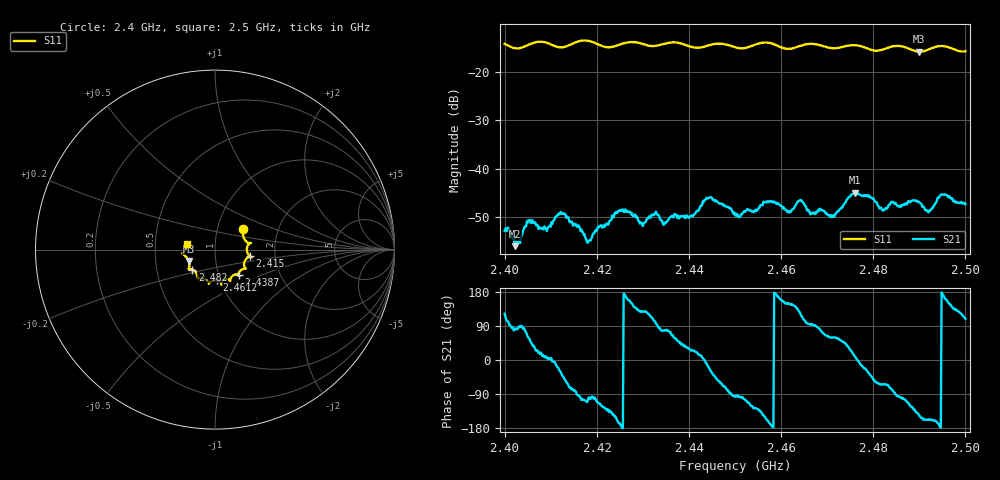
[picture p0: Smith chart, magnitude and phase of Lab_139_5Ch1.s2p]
# Hz S RI R 50
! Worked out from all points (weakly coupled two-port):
!   601 points, 2.4 GHz to 2.5 GHz, reference 50 ohm
!   highest |S21| = -45.00 dB at 2.476 GHz (marker M1); lowest = -56.0 dB at 2.4023 GHz (marker M2)
!   lowest |S11| = -15.9 dB at 2.49 GHz (marker M3), VSWR 1.38, Z = 36.9 - j4.85 ohm
!   |S11| at or under -10 dB: start of sweep to end of sweep
!   S12 and S22 are empty: the file has one direction only
!   S11 on the Smith chart (normalised r, x): 2.4 GHz: 1.33, +0.31; 2.415 GHz: 1.47, -0.11; 2.4387 GHz: 1.24, -0.36; 2.4612 GHz: 0.96, -0.34; 2.482 GHz: 0.76, -0.17; 2.5 GHz: 0.73, +0.05
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2.4e9  0.1576 0.112  -0.00121 0.00192  0 0  0 0
2.402333e9  0.1576 0.0727  0.000188 0.00157  0 0  0 0
2.405333e9  0.1863 0.0367  0.00157 0.00245  0 0  0 0
2.415e9  0.1925 -0.0365  0.00041 -0.00261  0 0  0 0
2.416667e9  0.2036 -0.0437  -0.000632 -0.00226  0 0  0 0
2.418333e9  0.2024 -0.0409  -0.000275 -0.00178  0 0  0 0
2.425167e9  0.1647 -0.0975  -0.00369 -0.00057  0 0  0 0
2.429833e9  0.1606 -0.1077  -0.00163 0.00218  0 0  0 0
2.433333e9  0.1319 -0.1317  0.000181 0.0033  0 0  0 0
2.438667e9  0.131 -0.1409  0.00241 0.00212  0 0  0 0
2.444333e9  0.0845 -0.1665  0.00466 -0.00168  0 0  0 0
2.45e9  0.0687 -0.1647  -0.000372 -0.00327  0 0  0 0
2.4575e9  0.0387 -0.1936  -0.00444 -0.00109  0 0  0 0
2.461167e9  0.00928 -0.1713  -0.0032 0.00193  0 0  0 0
2.464167e9  -0.0292 -0.1816  -0.00249 0.00394  0 0  0 0
2.466667e9  -0.0348 -0.19  -0.000244 0.00342  0 0  0 0
2.471333e9  -0.0585 -0.1636  0.00166 0.00285  0 0  0 0
2.476e9  -0.0956 -0.1608  0.00555 0.000943  0 0  0 0
2.482e9  -0.1261 -0.111  0.00157 -0.00335  0 0  0 0
2.483333e9  -0.1398 -0.1085  0.00157 -0.0039  0 0  0 0
2.49e9  -0.1468 -0.0639  -0.00375 -0.00245  0 0  0 0
2.5e9  -0.1585 0.033  -0.0014 0.00405  0 0  0 0
